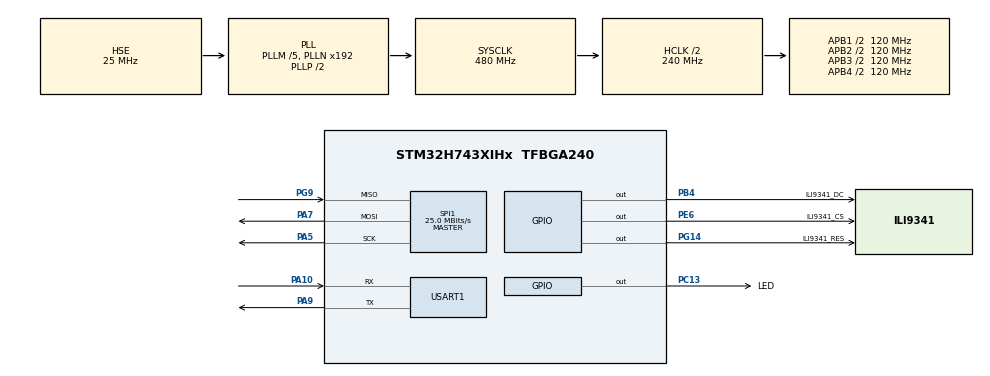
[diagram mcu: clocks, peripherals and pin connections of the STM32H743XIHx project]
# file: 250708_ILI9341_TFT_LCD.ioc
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CORTEX_M7.CPU_DCache=Enabled
CORTEX_M7.CPU_ICache=Enabled
CORTEX_M7.default_mode_Activation=1
Mcu.Family=STM32H7
Mcu.Name=STM32H743XIHx
Mcu.Package=TFBGA240
NVIC.PriorityGroup=NVIC_PRIORITYGROUP_4
PA10.Mode=Asynchronous
PA10.Signal=USART1_RX
PA13\ (JTMS/SWDIO).Mode=Serial_Wire
PA13\ (JTMS/SWDIO).Signal=DEBUG_JTMS-SWDIO
PA14\ (JTCK/SWCLK).Mode=Serial_Wire
PA14\ (JTCK/SWCLK).Signal=DEBUG_JTCK-SWCLK
PA5.Mode=Full_Duplex_Master
PA5.Signal=SPI1_SCK
PA7.Mode=Full_Duplex_Master
PA7.Signal=SPI1_MOSI
PA9.Mode=Asynchronous
PA9.Signal=USART1_TX
PB4\ (NJTRST).GPIO_Label=ILI9341_DC
PB4\ (NJTRST).Signal=GPIO_Output
PC13.GPIO_Label=LED
PC13.Signal=GPIO_Output
PE6.GPIO_Label=ILI9341_CS
PE6.Signal=GPIO_Output
PG14.GPIO_Label=ILI9341_RES
PG14.Signal=GPIO_Output
PG9.Mode=Full_Duplex_Master
PG9.Signal=SPI1_MISO
PH0-OSC_IN\ (PH0).Mode=HSE-External-Oscillator
PH0-OSC_IN\ (PH0).Signal=RCC_OSC_IN
PH1-OSC_OUT\ (PH1).Mode=HSE-External-Oscillator
PH1-OSC_OUT\ (PH1).Signal=RCC_OSC_OUT
ProjectManager.HeapSize=0x200
ProjectManager.StackSize=0x400
ProjectManager.TargetToolchain=STM32CubeIDE
RCC.ADCFreq_Value=50390625
RCC.APB1Freq_Value=120000000
RCC.APB2Freq_Value=120000000
RCC.APB3Freq_Value=120000000
RCC.APB4Freq_Value=120000000
RCC.CortexFreq_Value=480000000
RCC.D1PPRE=RCC_APB3_DIV2
RCC.D2PPRE1=RCC_APB1_DIV2
RCC.D2PPRE2=RCC_APB2_DIV2
RCC.D3PPRE=RCC_APB4_DIV2
RCC.DIVM1=5
RCC.DIVM3=25
RCC.DIVN1=192
RCC.DIVN3=200
RCC.HCLKFreq_Value=240000000
RCC.HPRE=RCC_HCLK_DIV2
RCC.PLLFRACN=0
RCC.PLLSourceVirtual=RCC_PLLSOURCE_HSE
RCC.SPI123CLockSelection=RCC_SPI123CLKSOURCE_PLL3
RCC.SYSCLKFreq_VALUE=480000000
RCC.SYSCLKSource=RCC_SYSCLKSOURCE_PLLCLK
RCC.USBFreq_Value=480000000
SPI1.BaudRatePrescaler=SPI_BAUDRATEPRESCALER_4
SPI1.CalculateBaudRate=25.0 MBits/s
SPI1.DataSize=SPI_DATASIZE_8BIT
SPI1.Direction=SPI_DIRECTION_2LINES
SPI1.Mode=SPI_MODE_MASTER
SPI1.NSSPMode=SPI_NSS_PULSE_DISABLE
SPI1.VirtualType=VM_MASTER
USART1.VirtualMode-Asynchronous=VM_ASYNC
VP_MEMORYMAP_VS_MEMORYMAP.Mode=CurAppReg
board=custom

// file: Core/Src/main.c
/* USER CODE BEGIN Header */
/**
  ******************************************************************************
  * @file           : main.c
  * @brief          : Main program body
  ******************************************************************************
  * @attention
  *
  * Copyright (c) 2025 STMicroelectronics.
  * All rights reserved.
  *
  * This software is licensed under terms that can be found in the LICENSE file
  * in the root directory of this software component.
  * If no LICENSE file comes with this software, it is provided AS-IS.
  *
  ******************************************************************************
  */
/* USER CODE END Header */
#include "main.h"
#include "memorymap.h"
#include "spi.h"
#include "usart.h"
#include "gpio.h"

/* USER CODE BEGIN Includes */
#include <stdio.h>
#include "ili9341.h"
#include "fonts.h"
#include "testimg.h"
#include "pic_240x320.h"
#include "ili9341_touch.h"
/* USER CODE END Includes */

void SystemClock_Config(void);
static void MPU_Config(void);

/* USER CODE BEGIN 0 */
int __io_putchar(int ch)
{
	HAL_UART_Transmit(&huart1, (uint8_t *)&ch, 1, 1000);

	return ch;
}
/* USER CODE END 0 */

int main(void)
{

  /* MPU Configuration--------------------------------------------------------*/
  MPU_Config();

  /* Enable the CPU Cache */

  /* Enable I-Cache---------------------------------------------------------*/
  SCB_EnableICache();

  /* Enable D-Cache---------------------------------------------------------*/
  SCB_EnableDCache();

  /* MCU Configuration--------------------------------------------------------*/

  /* Reset of all peripherals, Initializes the Flash interface and the Systick. */
  HAL_Init();

  /* Configure the system clock */
  SystemClock_Config();

  /* Initialize all configured peripherals */
  MX_GPIO_Init();
  MX_SPI1_Init();
  MX_USART1_UART_Init();
  /* USER CODE BEGIN 2 */
  ILI9341_Init(); // lcd 초기화
  printf("Hello STM32!\n");

  /* USER CODE END 2 */

  /* Infinite loop */
  /* USER CODE BEGIN WHILE */
  while (1)
  {
	  HAL_GPIO_TogglePin(GPIOC, GPIO_PIN_13);
	  //HAL_Delay(200);

	  ILI9341_FillScreen(ILI9341_RED);
	  HAL_Delay(1000);
	  ILI9341_FillScreen(ILI9341_GREEN);
	  HAL_Delay(1000);
	  ILI9341_FillScreen(ILI9341_BLUE);
	  HAL_Delay(1000);

//	  ILI9341_DrawImage((ILI9341_WIDTH - 240)/2, (ILI9341_HEIGHT - 240)/2, 240, 240, (const uint16_t *)test_img_240x240);
//	  HAL_Delay(2000);
//	  ILI9341_DrawImage8((ILI9341_WIDTH - 240)/2, (ILI9341_HEIGHT - 320)/2, 240, 320, (const uint8_t *)pic_240x320);
//	  ILI9341_WriteString(0, 200, "Font_7x10, KCCI STC HARMAN Semicon Academy", Font_7x10, ILI9341_BLUE, ILI9341_BLACK);
//	  HAL_Delay(2000);
    /* USER CODE END WHILE */

  }
}

void SystemClock_Config(void)
{
  RCC_OscInitTypeDef RCC_OscInitStruct = {0};
  RCC_ClkInitTypeDef RCC_ClkInitStruct = {0};

  /** Supply configuration update enable
  */
  HAL_PWREx_ConfigSupply(PWR_LDO_SUPPLY);

  /** Configure the main internal regulator output voltage
  */
  __HAL_PWR_VOLTAGESCALING_CONFIG(PWR_REGULATOR_VOLTAGE_SCALE0);

  while(!__HAL_PWR_GET_FLAG(PWR_FLAG_VOSRDY)) {}

  /** Initializes the RCC Oscillators according to the specified parameters
  * in the RCC_OscInitTypeDef structure.
  */
  RCC_OscInitStruct.OscillatorType = RCC_OSCILLATORTYPE_HSE;
  RCC_OscInitStruct.HSEState = RCC_HSE_ON;
  RCC_OscInitStruct.PLL.PLLState = RCC_PLL_ON;
  RCC_OscInitStruct.PLL.PLLSource = RCC_PLLSOURCE_HSE;
  RCC_OscInitStruct.PLL.PLLM = 5;
  RCC_OscInitStruct.PLL.PLLN = 192;
  RCC_OscInitStruct.PLL.PLLP = 2;
  RCC_OscInitStruct.PLL.PLLQ = 2;
  RCC_OscInitStruct.PLL.PLLR = 2;
  RCC_OscInitStruct.PLL.PLLRGE = RCC_PLL1VCIRANGE_2;
  RCC_OscInitStruct.PLL.PLLVCOSEL = RCC_PLL1VCOWIDE;
  RCC_OscInitStruct.PLL.PLLFRACN = 0;
  if (HAL_RCC_OscConfig(&RCC_OscInitStruct) != HAL_OK)
  {
    Error_Handler();
  }

  /** Initializes the CPU, AHB and APB buses clocks
  */
  RCC_ClkInitStruct.ClockType = RCC_CLOCKTYPE_HCLK|RCC_CLOCKTYPE_SYSCLK
                              |RCC_CLOCKTYPE_PCLK1|RCC_CLOCKTYPE_PCLK2
                              |RCC_CLOCKTYPE_D3PCLK1|RCC_CLOCKTYPE_D1PCLK1;
  RCC_ClkInitStruct.SYSCLKSource = RCC_SYSCLKSOURCE_PLLCLK;
  RCC_ClkInitStruct.SYSCLKDivider = RCC_SYSCLK_DIV1;
  RCC_ClkInitStruct.AHBCLKDivider = RCC_HCLK_DIV2;
  RCC_ClkInitStruct.APB3CLKDivider = RCC_APB3_DIV2;
  RCC_ClkInitStruct.APB1CLKDivider = RCC_APB1_DIV2;
  RCC_ClkInitStruct.APB2CLKDivider = RCC_APB2_DIV2;
  RCC_ClkInitStruct.APB4CLKDivider = RCC_APB4_DIV2;

  if (HAL_RCC_ClockConfig(&RCC_ClkInitStruct, FLASH_LATENCY_4) != HAL_OK)
  {
    Error_Handler();
  }
}

 /* MPU Configuration */

void MPU_Config(void)
{
  MPU_Region_InitTypeDef MPU_InitStruct = {0};

  /* Disables the MPU */
  HAL_MPU_Disable();

  /** Initializes and configures the Region and the memory to be protected
  */
  MPU_InitStruct.Enable = MPU_REGION_ENABLE;
  MPU_InitStruct.Number = MPU_REGION_NUMBER0;
  MPU_InitStruct.BaseAddress = 0x0;
  MPU_InitStruct.Size = MPU_REGION_SIZE_4GB;
  MPU_InitStruct.SubRegionDisable = 0x87;
  MPU_InitStruct.TypeExtField = MPU_TEX_LEVEL0;
  MPU_InitStruct.AccessPermission = MPU_REGION_NO_ACCESS;
  MPU_InitStruct.DisableExec = MPU_INSTRUCTION_ACCESS_DISABLE;
  MPU_InitStruct.IsShareable = MPU_ACCESS_SHAREABLE;
  MPU_InitStruct.IsCacheable = MPU_ACCESS_NOT_CACHEABLE;
  MPU_InitStruct.IsBufferable = MPU_ACCESS_NOT_BUFFERABLE;

  HAL_MPU_ConfigRegion(&MPU_InitStruct);
  /* Enables the MPU */
  HAL_MPU_Enable(MPU_PRIVILEGED_DEFAULT);

}

void Error_Handler(void)
{
  __disable_irq();
  while (1)
  {
  }
}
